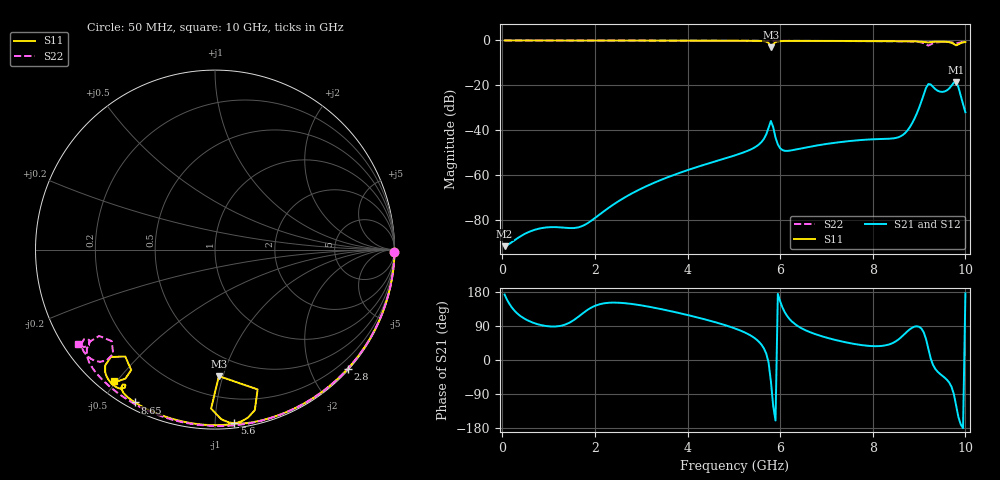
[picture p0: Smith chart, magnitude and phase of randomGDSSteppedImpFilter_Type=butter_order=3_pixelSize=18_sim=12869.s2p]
! freq	dB(S11)	phase(S11)	dB(S12)	phase(S12)
!  dB(S21)	phase(S21)	dB(S22)	phase(S22)
!S-par simulation data
#  GHz  S  DB  R 50
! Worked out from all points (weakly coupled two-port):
!   200 points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, 50 MHz to 10 GHz, reference 50 ohm
!   highest |S21| = -18.51 dB at 9.8 GHz (marker M1); lowest = -91.8 dB at 50 MHz (marker M2)
!   lowest |S11| = -3.0 dB at 5.8 GHz (marker M3), VSWR 5.78, Z = 17.3 - j48.5 ohm
!   |S11| at or under -10 dB: nowhere
!   |S22| runs from -2.3 to 0.0 dB; largest |S21 - S12| = 0
!   S11 on the Smith chart (normalised r, x): 50 MHz: open; 2.8 GHz: 0.02, -2.61; 5.6 GHz: 0.03, -1.12; 8.65 GHz: 0.03, -0.60; 10 GHz: 0.05, -0.49
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0.05  -0.00 -0.8  -91.77 172.8  -91.77 172.8  -0.00 -0.9
1.75  -0.03 -26.5  -82.58 124.4  -82.58 124.4  -0.04 -29.8
1.95  -0.04 -29.5  -79.99 140.0  -79.99 140.0  -0.04 -33.1
2.8  -0.05 -41.9  -68.22 147.8  -68.22 147.8  -0.06 -47.0
3.4  -0.07 -50.5  -62.43 135.0  -62.43 135.0  -0.08 -56.6
5.05  -0.12 -73.8  -51.08 82.1  -51.08 82.1  -0.13 -81.7
5.6  -0.23 -83.7  -45.23 39.9  -45.23 39.9  -0.15 -89.7
5.75  -1.05 -91.4  -38.99 -6.6  -38.99 -6.6  -0.16 -91.9
5.8  -3.03 -88.3  -35.92 -56.4  -35.92 -56.4  -0.17 -92.6
5.85  -1.78 -73.0  -38.68 -121.8  -38.68 -121.8  -0.17 -93.2
5.95  -0.41 -78.9  -46.39 174.7  -46.39 174.7  -0.17 -94.7
6.05  -0.25 -82.3  -48.91 138.6  -48.91 138.6  -0.17 -96.1
6.7  -0.19 -92.9  -47.18 70.9  -47.18 70.9  -0.21 -105.2
8.35  -0.31 -113.8  -43.84 40.9  -43.84 40.9  -0.34 -128.4
8.65  -0.35 -117.6  -42.14 64.3  -42.14 64.3  -0.39 -133.1
8.9  -0.41 -121.1  -34.91 88.0  -34.91 88.0  -0.52 -138.0
9.1  -0.66 -124.2  -24.10 73.2  -24.10 73.2  -1.26 -143.7
9.2  -0.88 -123.5  -19.44 29.3  -19.44 29.3  -2.28 -138.5
9.5  -0.52 -127.9  -22.95 -41.4  -22.95 -41.4  -0.67 -139.9
9.7  -1.02 -133.5  -20.18 -70.6  -20.18 -70.6  -0.84 -144.9
9.8  -2.19 -130.0  -18.51 -120.0  -18.51 -120.0  -1.29 -144.3
10  -0.71 -127.6  -32.04 175.7  -32.04 175.7  -0.65 -145.5
